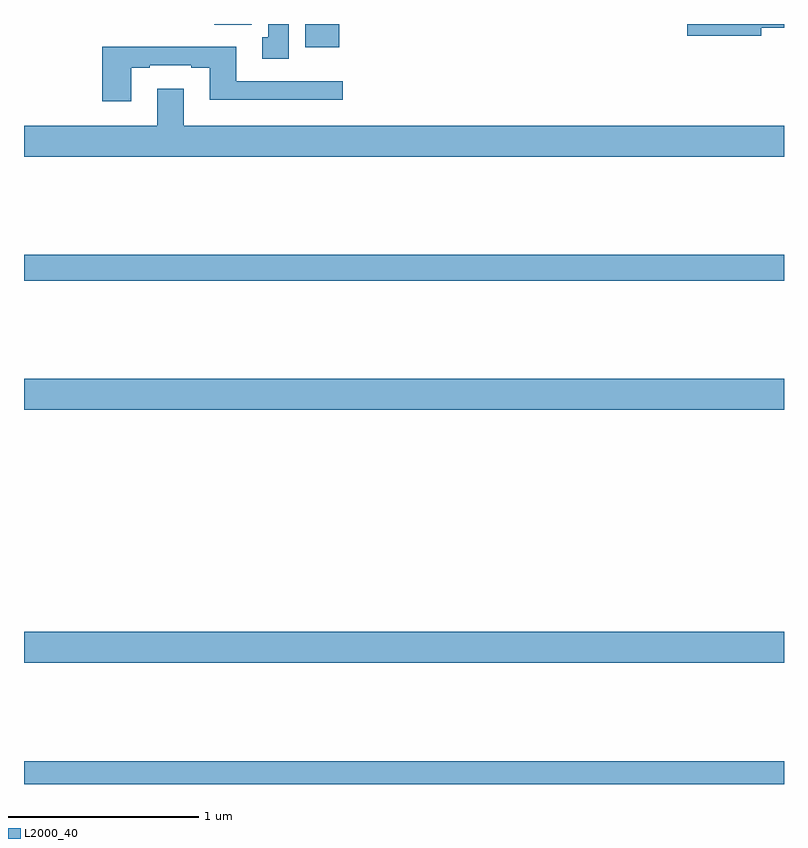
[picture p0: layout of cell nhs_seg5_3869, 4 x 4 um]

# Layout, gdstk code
import gdstk
lib = gdstk.Library(unit=1e-6, precision=1e-09)
def R(c, l, rs):  # rectangles x0, y0, x1, y1
    for r in rs: c.add(gdstk.rectangle(r[:2], r[2:], *l))
def P(c, l, *ps):  # polygons
    for p in ps: c.add(gdstk.Polygon(p, *l))
L2000_40 = (2000, 40)

nhs_seg5_3869 = lib.new_cell('nhs_seg5_3869')
R(nhs_seg5_3869, L2000_40, [(339,846.799,343,846.92), (339,847.436,343,847.6), (339,848.768,343,848.932), (339,849.448,343,849.584), (340.481,850.676,340.66,850.799), (340.001,850.796,340.198,850.799)])
P(nhs_seg5_3869, L2000_40, [(340.393,850.799),(340.286,850.799),(340.286,850.73),(340.253,850.73),(340.253,850.617),(340.393,850.617)],
  [(342.88,850.78),(343,850.78),(343,850.799),(342.492,850.799),(342.492,850.738),(342.88,850.738)],
  [(339.565,850.569),(339.661,850.569),(339.661,850.581),(339.881,850.581),(339.881,850.569),(339.977,850.569),(339.977,850.4),(340.678,850.4),(340.678,850.497),(340.117,850.497),(340.117,850.678),(339.413,850.678),(339.413,850.392),(339.565,850.392)],
  [(343,850.264),(339.841,850.264),(339.841,850.459),(339.701,850.459),(339.701,850.264),(339,850.264),(339,850.1),(343,850.1)])

lib.write_gds('nhs_seg5_3869.gds')
